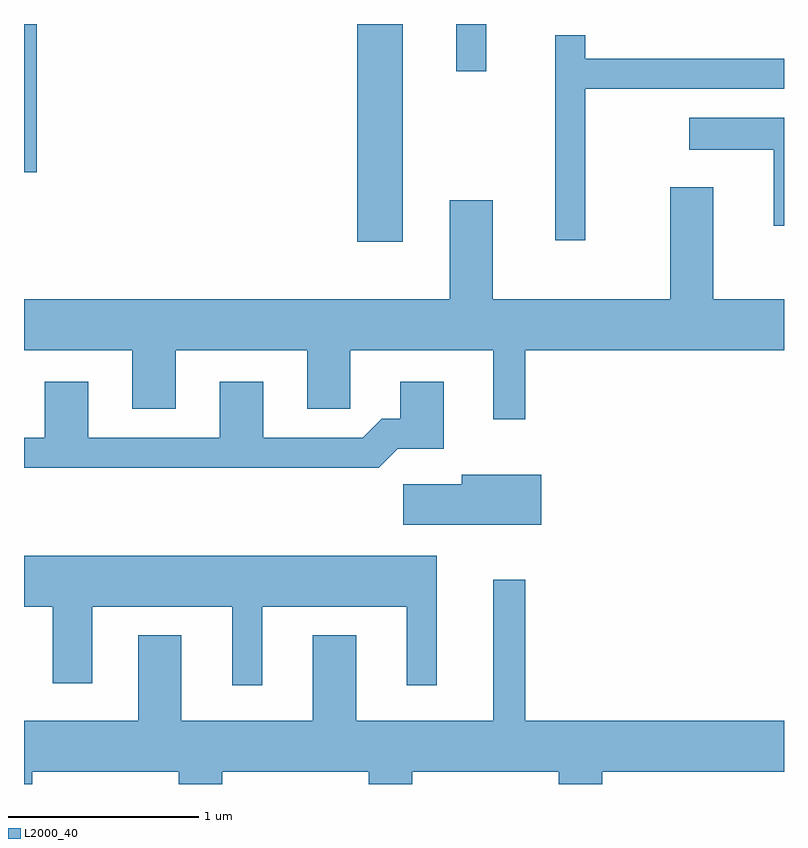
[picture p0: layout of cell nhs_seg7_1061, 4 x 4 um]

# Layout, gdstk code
import gdstk
lib = gdstk.Library(unit=1e-6, precision=1e-09)
def R(c, l, rs):  # rectangles x0, y0, x1, y1
    for r in rs: c.add(gdstk.rectangle(r[:2], r[2:], *l))
def P(c, l, *ps):  # polygons
    for p in ps: c.add(gdstk.Polygon(p, *l))
L2000_40 = (2000, 40)

nhs_seg7_1061 = lib.new_cell('nhs_seg7_1061')
R(nhs_seg7_1061, L2000_40, [(219.366,1717.106,219.604,1718.252), (217.611,1717.471,217.679,1718.252), (219.886,1718.003,220.044,1718.252), (220.821,1718.251,221.611,1718.252)])
P(nhs_seg7_1061, L2000_40, [(220.564,1717.911),(221.611,1717.911),(221.611,1718.069),(220.564,1718.069),(220.564,1718.193),(220.406,1718.193),(220.406,1717.113),(220.564,1717.113)],
  [(221.611,1717.759),(221.113,1717.759),(221.113,1717.591),(221.556,1717.591),(221.556,1717.191),(221.611,1717.191)],
  [(220.249,1716.536),(221.611,1716.536),(221.611,1716.804),(221.239,1716.804),(221.239,1717.394),(221.011,1717.394),(221.011,1716.804),(220.079,1716.804),(220.079,1717.324),(219.851,1717.324),(219.851,1716.804),(217.611,1716.804),(217.611,1716.536),(218.181,1716.536),(218.181,1716.226),(218.409,1716.226),(218.409,1716.536),(219.101,1716.536),(219.101,1716.226),(219.329,1716.226),(219.329,1716.536),(220.081,1716.536),(220.081,1716.173),(220.249,1716.173)],
  [(219.577,1716.016),(219.819,1716.016),(219.819,1716.369),(219.591,1716.369),(219.591,1716.174),(219.494,1716.174),(219.394,1716.074),(218.869,1716.074),(218.869,1716.369),(218.641,1716.369),(218.641,1716.074),(217.949,1716.074),(217.949,1716.369),(217.721,1716.369),(217.721,1716.074),(217.611,1716.074),(217.611,1715.916),(219.477,1715.916)],
  [(220.334,1715.879),(219.916,1715.879),(219.916,1715.829),(219.606,1715.829),(219.606,1715.616),(220.334,1715.616)],
  [(218.864,1715.186),(219.626,1715.186),(219.626,1714.773),(219.784,1714.773),(219.784,1715.454),(217.611,1715.454),(217.611,1715.186),(217.761,1715.186),(217.761,1714.781),(217.969,1714.781),(217.969,1715.186),(218.706,1715.186),(218.706,1714.773),(218.864,1714.773)],
  [(217.654,1714.316),(218.426,1714.316),(218.426,1714.252),(218.654,1714.252),(218.654,1714.316),(219.426,1714.316),(219.426,1714.252),(219.654,1714.252),(219.654,1714.316),(220.426,1714.316),(220.426,1714.252),(220.654,1714.252),(220.654,1714.316),(221.611,1714.316),(221.611,1714.584),(220.249,1714.584),(220.249,1715.328),(220.081,1715.328),(220.081,1714.584),(219.359,1714.584),(219.359,1715.034),(219.131,1715.034),(219.131,1714.584),(218.439,1714.584),(218.439,1715.034),(218.211,1715.034),(218.211,1714.584),(217.611,1714.584),(217.611,1714.252),(217.654,1714.252)])

lib.write_gds('nhs_seg7_1061.gds')
